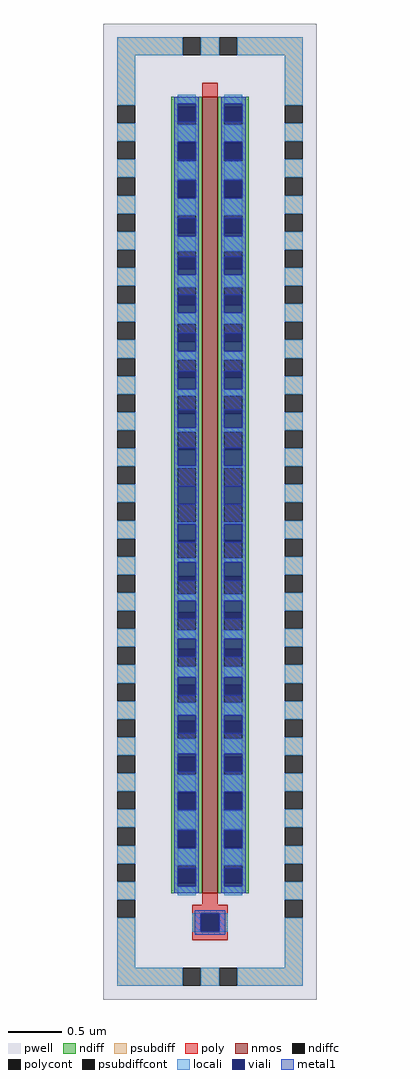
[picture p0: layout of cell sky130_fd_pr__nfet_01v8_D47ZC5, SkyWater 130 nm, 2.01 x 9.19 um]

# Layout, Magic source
magic
tech sky130A
magscale 1 2
<< pwell >>
rect -201 -919 201 919
<< nmos >>
rect -15 -719 15 781
<< ndiff >>
rect -73 762 -15 781
rect -73 728 -61 762
rect -27 728 -15 762
rect -73 694 -15 728
rect -73 660 -61 694
rect -27 660 -15 694
rect -73 626 -15 660
rect -73 592 -61 626
rect -27 592 -15 626
rect -73 558 -15 592
rect -73 524 -61 558
rect -27 524 -15 558
rect -73 490 -15 524
rect -73 456 -61 490
rect -27 456 -15 490
rect -73 422 -15 456
rect -73 388 -61 422
rect -27 388 -15 422
rect -73 354 -15 388
rect -73 320 -61 354
rect -27 320 -15 354
rect -73 286 -15 320
rect -73 252 -61 286
rect -27 252 -15 286
rect -73 218 -15 252
rect -73 184 -61 218
rect -27 184 -15 218
rect -73 150 -15 184
rect -73 116 -61 150
rect -27 116 -15 150
rect -73 82 -15 116
rect -73 48 -61 82
rect -27 48 -15 82
rect -73 14 -15 48
rect -73 -20 -61 14
rect -27 -20 -15 14
rect -73 -54 -15 -20
rect -73 -88 -61 -54
rect -27 -88 -15 -54
rect -73 -122 -15 -88
rect -73 -156 -61 -122
rect -27 -156 -15 -122
rect -73 -190 -15 -156
rect -73 -224 -61 -190
rect -27 -224 -15 -190
rect -73 -258 -15 -224
rect -73 -292 -61 -258
rect -27 -292 -15 -258
rect -73 -326 -15 -292
rect -73 -360 -61 -326
rect -27 -360 -15 -326
rect -73 -394 -15 -360
rect -73 -428 -61 -394
rect -27 -428 -15 -394
rect -73 -462 -15 -428
rect -73 -496 -61 -462
rect -27 -496 -15 -462
rect -73 -530 -15 -496
rect -73 -564 -61 -530
rect -27 -564 -15 -530
rect -73 -598 -15 -564
rect -73 -632 -61 -598
rect -27 -632 -15 -598
rect -73 -666 -15 -632
rect -73 -700 -61 -666
rect -27 -700 -15 -666
rect -73 -719 -15 -700
rect 15 762 73 781
rect 15 728 27 762
rect 61 728 73 762
rect 15 694 73 728
rect 15 660 27 694
rect 61 660 73 694
rect 15 626 73 660
rect 15 592 27 626
rect 61 592 73 626
rect 15 558 73 592
rect 15 524 27 558
rect 61 524 73 558
rect 15 490 73 524
rect 15 456 27 490
rect 61 456 73 490
rect 15 422 73 456
rect 15 388 27 422
rect 61 388 73 422
rect 15 354 73 388
rect 15 320 27 354
rect 61 320 73 354
rect 15 286 73 320
rect 15 252 27 286
rect 61 252 73 286
rect 15 218 73 252
rect 15 184 27 218
rect 61 184 73 218
rect 15 150 73 184
rect 15 116 27 150
rect 61 116 73 150
rect 15 82 73 116
rect 15 48 27 82
rect 61 48 73 82
rect 15 14 73 48
rect 15 -20 27 14
rect 61 -20 73 14
rect 15 -54 73 -20
rect 15 -88 27 -54
rect 61 -88 73 -54
rect 15 -122 73 -88
rect 15 -156 27 -122
rect 61 -156 73 -122
rect 15 -190 73 -156
rect 15 -224 27 -190
rect 61 -224 73 -190
rect 15 -258 73 -224
rect 15 -292 27 -258
rect 61 -292 73 -258
rect 15 -326 73 -292
rect 15 -360 27 -326
rect 61 -360 73 -326
rect 15 -394 73 -360
rect 15 -428 27 -394
rect 61 -428 73 -394
rect 15 -462 73 -428
rect 15 -496 27 -462
rect 61 -496 73 -462
rect 15 -530 73 -496
rect 15 -564 27 -530
rect 61 -564 73 -530
rect 15 -598 73 -564
rect 15 -632 27 -598
rect 61 -632 73 -598
rect 15 -666 73 -632
rect 15 -700 27 -666
rect 61 -700 73 -666
rect 15 -719 73 -700
<< ndiffc >>
rect -61 728 -27 762
rect -61 660 -27 694
rect -61 592 -27 626
rect -61 524 -27 558
rect -61 456 -27 490
rect -61 388 -27 422
rect -61 320 -27 354
rect -61 252 -27 286
rect -61 184 -27 218
rect -61 116 -27 150
rect -61 48 -27 82
rect -61 -20 -27 14
rect -61 -88 -27 -54
rect -61 -156 -27 -122
rect -61 -224 -27 -190
rect -61 -292 -27 -258
rect -61 -360 -27 -326
rect -61 -428 -27 -394
rect -61 -496 -27 -462
rect -61 -564 -27 -530
rect -61 -632 -27 -598
rect -61 -700 -27 -666
rect 27 728 61 762
rect 27 660 61 694
rect 27 592 61 626
rect 27 524 61 558
rect 27 456 61 490
rect 27 388 61 422
rect 27 320 61 354
rect 27 252 61 286
rect 27 184 61 218
rect 27 116 61 150
rect 27 48 61 82
rect 27 -20 61 14
rect 27 -88 61 -54
rect 27 -156 61 -122
rect 27 -224 61 -190
rect 27 -292 61 -258
rect 27 -360 61 -326
rect 27 -428 61 -394
rect 27 -496 61 -462
rect 27 -564 61 -530
rect 27 -632 61 -598
rect 27 -700 61 -666
<< psubdiff >>
rect -175 859 -51 893
rect -17 859 17 893
rect 51 859 175 893
rect -175 765 -141 859
rect -175 697 -141 731
rect -175 629 -141 663
rect -175 561 -141 595
rect -175 493 -141 527
rect -175 425 -141 459
rect -175 357 -141 391
rect -175 289 -141 323
rect -175 221 -141 255
rect -175 153 -141 187
rect -175 85 -141 119
rect -175 17 -141 51
rect -175 -51 -141 -17
rect -175 -119 -141 -85
rect -175 -187 -141 -153
rect -175 -255 -141 -221
rect -175 -323 -141 -289
rect -175 -391 -141 -357
rect -175 -459 -141 -425
rect -175 -527 -141 -493
rect -175 -595 -141 -561
rect -175 -663 -141 -629
rect -175 -731 -141 -697
rect 141 765 175 859
rect 141 697 175 731
rect 141 629 175 663
rect 141 561 175 595
rect 141 493 175 527
rect 141 425 175 459
rect 141 357 175 391
rect 141 289 175 323
rect 141 221 175 255
rect 141 153 175 187
rect 141 85 175 119
rect 141 17 175 51
rect 141 -51 175 -17
rect 141 -119 175 -85
rect 141 -187 175 -153
rect 141 -255 175 -221
rect 141 -323 175 -289
rect 141 -391 175 -357
rect 141 -459 175 -425
rect 141 -527 175 -493
rect 141 -595 175 -561
rect 141 -663 175 -629
rect 141 -731 175 -697
rect -175 -859 -141 -765
rect 141 -859 175 -765
rect -175 -893 -51 -859
rect -17 -893 17 -859
rect 51 -893 175 -859
<< psubdiffcont >>
rect -51 859 -17 893
rect 17 859 51 893
rect -175 731 -141 765
rect -175 663 -141 697
rect -175 595 -141 629
rect -175 527 -141 561
rect -175 459 -141 493
rect -175 391 -141 425
rect -175 323 -141 357
rect -175 255 -141 289
rect -175 187 -141 221
rect -175 119 -141 153
rect -175 51 -141 85
rect -175 -17 -141 17
rect -175 -85 -141 -51
rect -175 -153 -141 -119
rect -175 -221 -141 -187
rect -175 -289 -141 -255
rect -175 -357 -141 -323
rect -175 -425 -141 -391
rect -175 -493 -141 -459
rect -175 -561 -141 -527
rect -175 -629 -141 -595
rect -175 -697 -141 -663
rect 141 731 175 765
rect 141 663 175 697
rect 141 595 175 629
rect 141 527 175 561
rect 141 459 175 493
rect 141 391 175 425
rect 141 323 175 357
rect 141 255 175 289
rect 141 187 175 221
rect 141 119 175 153
rect 141 51 175 85
rect 141 -17 175 17
rect 141 -85 175 -51
rect 141 -153 175 -119
rect 141 -221 175 -187
rect 141 -289 175 -255
rect 141 -357 175 -323
rect 141 -425 175 -391
rect 141 -493 175 -459
rect 141 -561 175 -527
rect 141 -629 175 -595
rect 141 -697 175 -663
rect -175 -765 -141 -731
rect 141 -765 175 -731
rect -51 -893 -17 -859
rect 17 -893 51 -859
<< poly >>
rect -15 781 15 807
rect -15 -741 15 -719
rect -33 -757 33 -741
rect -33 -791 -17 -757
rect 17 -791 33 -757
rect -33 -807 33 -791
<< polycont >>
rect -17 -791 17 -757
<< locali >>
rect -175 859 -51 893
rect -17 859 17 893
rect 51 859 175 893
rect -175 765 -141 859
rect -175 697 -141 731
rect -175 629 -141 663
rect -175 561 -141 595
rect -175 493 -141 527
rect -175 425 -141 459
rect -175 357 -141 391
rect -175 289 -141 323
rect -175 221 -141 255
rect -175 153 -141 187
rect -175 85 -141 119
rect -175 17 -141 51
rect -175 -51 -141 -17
rect -175 -119 -141 -85
rect -175 -187 -141 -153
rect -175 -255 -141 -221
rect -175 -323 -141 -289
rect -175 -391 -141 -357
rect -175 -459 -141 -425
rect -175 -527 -141 -493
rect -175 -595 -141 -561
rect -175 -663 -141 -629
rect -175 -731 -141 -697
rect -61 768 -27 785
rect -61 696 -27 728
rect -61 626 -27 660
rect -61 558 -27 590
rect -61 490 -27 518
rect -61 422 -27 446
rect -61 354 -27 374
rect -61 286 -27 302
rect -61 218 -27 230
rect -61 150 -27 158
rect -61 82 -27 86
rect -61 -24 -27 -20
rect -61 -96 -27 -88
rect -61 -168 -27 -156
rect -61 -240 -27 -224
rect -61 -312 -27 -292
rect -61 -384 -27 -360
rect -61 -456 -27 -428
rect -61 -528 -27 -496
rect -61 -598 -27 -564
rect -61 -666 -27 -634
rect -61 -723 -27 -706
rect 27 768 61 785
rect 27 696 61 728
rect 27 626 61 660
rect 27 558 61 590
rect 27 490 61 518
rect 27 422 61 446
rect 27 354 61 374
rect 27 286 61 302
rect 27 218 61 230
rect 27 150 61 158
rect 27 82 61 86
rect 27 -24 61 -20
rect 27 -96 61 -88
rect 27 -168 61 -156
rect 27 -240 61 -224
rect 27 -312 61 -292
rect 27 -384 61 -360
rect 27 -456 61 -428
rect 27 -528 61 -496
rect 27 -598 61 -564
rect 27 -666 61 -634
rect 27 -723 61 -706
rect 141 765 175 859
rect 141 697 175 731
rect 141 629 175 663
rect 141 561 175 595
rect 141 493 175 527
rect 141 425 175 459
rect 141 357 175 391
rect 141 289 175 323
rect 141 221 175 255
rect 141 153 175 187
rect 141 85 175 119
rect 141 17 175 51
rect 141 -51 175 -17
rect 141 -119 175 -85
rect 141 -187 175 -153
rect 141 -255 175 -221
rect 141 -323 175 -289
rect 141 -391 175 -357
rect 141 -459 175 -425
rect 141 -527 175 -493
rect 141 -595 175 -561
rect 141 -663 175 -629
rect 141 -731 175 -697
rect -175 -859 -141 -765
rect -33 -791 -17 -757
rect 17 -791 33 -757
rect 141 -859 175 -765
rect -175 -893 -51 -859
rect -17 -893 17 -859
rect 51 -893 175 -859
<< viali >>
rect -61 762 -27 768
rect -61 734 -27 762
rect -61 694 -27 696
rect -61 662 -27 694
rect -61 592 -27 624
rect -61 590 -27 592
rect -61 524 -27 552
rect -61 518 -27 524
rect -61 456 -27 480
rect -61 446 -27 456
rect -61 388 -27 408
rect -61 374 -27 388
rect -61 320 -27 336
rect -61 302 -27 320
rect -61 252 -27 264
rect -61 230 -27 252
rect -61 184 -27 192
rect -61 158 -27 184
rect -61 116 -27 120
rect -61 86 -27 116
rect -61 14 -27 48
rect -61 -54 -27 -24
rect -61 -58 -27 -54
rect -61 -122 -27 -96
rect -61 -130 -27 -122
rect -61 -190 -27 -168
rect -61 -202 -27 -190
rect -61 -258 -27 -240
rect -61 -274 -27 -258
rect -61 -326 -27 -312
rect -61 -346 -27 -326
rect -61 -394 -27 -384
rect -61 -418 -27 -394
rect -61 -462 -27 -456
rect -61 -490 -27 -462
rect -61 -530 -27 -528
rect -61 -562 -27 -530
rect -61 -632 -27 -600
rect -61 -634 -27 -632
rect -61 -700 -27 -672
rect -61 -706 -27 -700
rect 27 762 61 768
rect 27 734 61 762
rect 27 694 61 696
rect 27 662 61 694
rect 27 592 61 624
rect 27 590 61 592
rect 27 524 61 552
rect 27 518 61 524
rect 27 456 61 480
rect 27 446 61 456
rect 27 388 61 408
rect 27 374 61 388
rect 27 320 61 336
rect 27 302 61 320
rect 27 252 61 264
rect 27 230 61 252
rect 27 184 61 192
rect 27 158 61 184
rect 27 116 61 120
rect 27 86 61 116
rect 27 14 61 48
rect 27 -54 61 -24
rect 27 -58 61 -54
rect 27 -122 61 -96
rect 27 -130 61 -122
rect 27 -190 61 -168
rect 27 -202 61 -190
rect 27 -258 61 -240
rect 27 -274 61 -258
rect 27 -326 61 -312
rect 27 -346 61 -326
rect 27 -394 61 -384
rect 27 -418 61 -394
rect 27 -462 61 -456
rect 27 -490 61 -462
rect 27 -530 61 -528
rect 27 -562 61 -530
rect 27 -632 61 -600
rect 27 -634 61 -632
rect 27 -700 61 -672
rect 27 -706 61 -700
rect -17 -791 17 -757
<< metal1 >>
rect -67 768 -21 781
rect -67 734 -61 768
rect -27 734 -21 768
rect -67 696 -21 734
rect -67 662 -61 696
rect -27 662 -21 696
rect -67 624 -21 662
rect -67 590 -61 624
rect -27 590 -21 624
rect -67 552 -21 590
rect -67 518 -61 552
rect -27 518 -21 552
rect -67 480 -21 518
rect -67 446 -61 480
rect -27 446 -21 480
rect -67 408 -21 446
rect -67 374 -61 408
rect -27 374 -21 408
rect -67 336 -21 374
rect -67 302 -61 336
rect -27 302 -21 336
rect -67 264 -21 302
rect -67 230 -61 264
rect -27 230 -21 264
rect -67 192 -21 230
rect -67 158 -61 192
rect -27 158 -21 192
rect -67 120 -21 158
rect -67 86 -61 120
rect -27 86 -21 120
rect -67 48 -21 86
rect -67 14 -61 48
rect -27 14 -21 48
rect -67 -24 -21 14
rect -67 -58 -61 -24
rect -27 -58 -21 -24
rect -67 -96 -21 -58
rect -67 -130 -61 -96
rect -27 -130 -21 -96
rect -67 -168 -21 -130
rect -67 -202 -61 -168
rect -27 -202 -21 -168
rect -67 -240 -21 -202
rect -67 -274 -61 -240
rect -27 -274 -21 -240
rect -67 -312 -21 -274
rect -67 -346 -61 -312
rect -27 -346 -21 -312
rect -67 -384 -21 -346
rect -67 -418 -61 -384
rect -27 -418 -21 -384
rect -67 -456 -21 -418
rect -67 -490 -61 -456
rect -27 -490 -21 -456
rect -67 -528 -21 -490
rect -67 -562 -61 -528
rect -27 -562 -21 -528
rect -67 -600 -21 -562
rect -67 -634 -61 -600
rect -27 -634 -21 -600
rect -67 -672 -21 -634
rect -67 -706 -61 -672
rect -27 -706 -21 -672
rect -67 -719 -21 -706
rect 21 768 67 781
rect 21 734 27 768
rect 61 734 67 768
rect 21 696 67 734
rect 21 662 27 696
rect 61 662 67 696
rect 21 624 67 662
rect 21 590 27 624
rect 61 590 67 624
rect 21 552 67 590
rect 21 518 27 552
rect 61 518 67 552
rect 21 480 67 518
rect 21 446 27 480
rect 61 446 67 480
rect 21 408 67 446
rect 21 374 27 408
rect 61 374 67 408
rect 21 336 67 374
rect 21 302 27 336
rect 61 302 67 336
rect 21 264 67 302
rect 21 230 27 264
rect 61 230 67 264
rect 21 192 67 230
rect 21 158 27 192
rect 61 158 67 192
rect 21 120 67 158
rect 21 86 27 120
rect 61 86 67 120
rect 21 48 67 86
rect 21 14 27 48
rect 61 14 67 48
rect 21 -24 67 14
rect 21 -58 27 -24
rect 61 -58 67 -24
rect 21 -96 67 -58
rect 21 -130 27 -96
rect 61 -130 67 -96
rect 21 -168 67 -130
rect 21 -202 27 -168
rect 61 -202 67 -168
rect 21 -240 67 -202
rect 21 -274 27 -240
rect 61 -274 67 -240
rect 21 -312 67 -274
rect 21 -346 27 -312
rect 61 -346 67 -312
rect 21 -384 67 -346
rect 21 -418 27 -384
rect 61 -418 67 -384
rect 21 -456 67 -418
rect 21 -490 27 -456
rect 61 -490 67 -456
rect 21 -528 67 -490
rect 21 -562 27 -528
rect 61 -562 67 -528
rect 21 -600 67 -562
rect 21 -634 27 -600
rect 61 -634 67 -600
rect 21 -672 67 -634
rect 21 -706 27 -672
rect 61 -706 67 -672
rect 21 -719 67 -706
rect -29 -757 29 -751
rect -29 -791 -17 -757
rect 17 -791 29 -757
rect -29 -797 29 -791
<< properties >>
string FIXED_BBOX -158 -876 158 876
<< end >>
